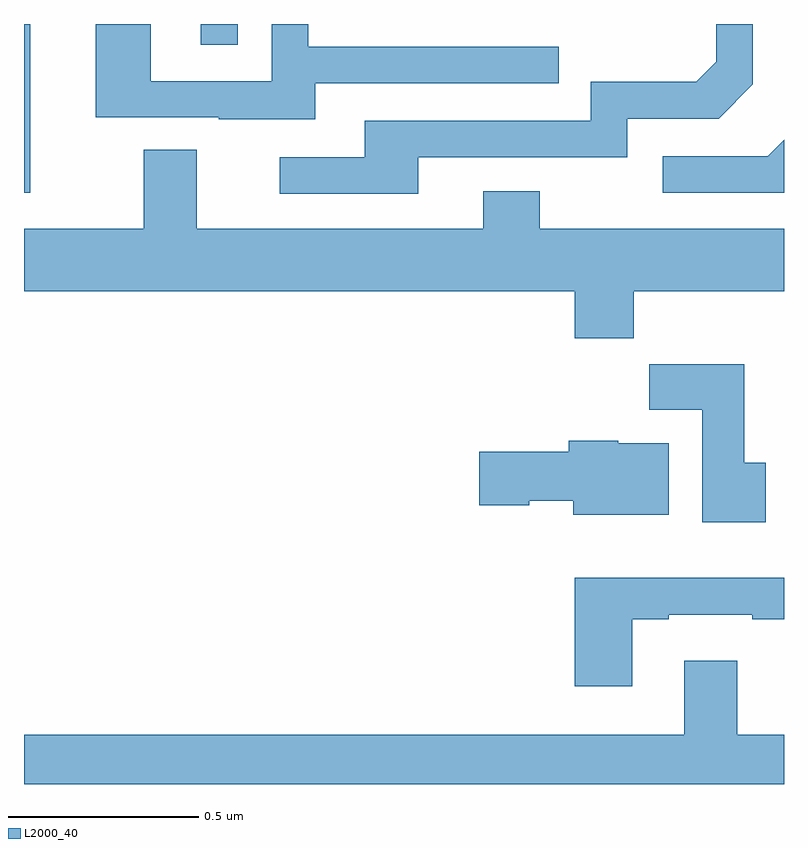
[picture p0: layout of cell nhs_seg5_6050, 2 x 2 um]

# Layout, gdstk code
import gdstk
lib = gdstk.Library(unit=1e-6, precision=1e-09)
def R(c, l, rs):  # rectangles x0, y0, x1, y1
    for r in rs: c.add(gdstk.rectangle(r[:2], r[2:], *l))
def P(c, l, *ps):  # polygons
    for p in ps: c.add(gdstk.Polygon(p, *l))
L2000_40 = (2000, 40)

nhs_seg5_6050 = lib.new_cell('nhs_seg5_6050')
R(nhs_seg5_6050, L2000_40, [(191,854.355,191.017,854.799), (191.465,854.745,191.562,854.799)])
P(nhs_seg5_6050, L2000_40, [(192.037,854.448),(192.588,854.448),(192.588,854.55),(192.828,854.55),(192.918,854.64),(192.918,854.799),(192.822,854.799),(192.822,854.7),(192.769,854.647),(192.492,854.647),(192.492,854.544),(191.897,854.544),(191.897,854.448),(191.673,854.448),(191.673,854.352),(192.037,854.352)],
  [(191.767,854.643),(192.407,854.643),(192.407,854.739),(191.748,854.739),(191.748,854.799),(191.652,854.799),(191.652,854.649),(191.334,854.649),(191.334,854.799),(191.189,854.799),(191.189,854.553),(191.513,854.553),(191.513,854.549),(191.767,854.549)],
  [(193,854.494),(192.957,854.451),(192.681,854.451),(192.681,854.355),(193,854.355)],
  [(192.605,854.096),(193,854.096),(193,854.26),(192.357,854.26),(192.357,854.359),(192.209,854.359),(192.209,854.26),(191.455,854.26),(191.455,854.468),(191.315,854.468),(191.315,854.26),(191,854.26),(191,854.096),(192.449,854.096),(192.449,853.972),(192.605,853.972)],
  [(192.952,853.644),(192.895,853.644),(192.895,853.903),(192.646,853.903),(192.646,853.784),(192.785,853.784),(192.785,853.488),(192.952,853.488)],
  [(192.697,853.696),(192.564,853.696),(192.564,853.702),(192.434,853.702),(192.434,853.674),(192.198,853.674),(192.198,853.532),(192.33,853.532),(192.33,853.544),(192.446,853.544),(192.446,853.508),(192.697,853.508)],
  [(192.601,853.233),(192.697,853.233),(192.697,853.245),(192.917,853.245),(192.917,853.233),(193,853.233),(193,853.342),(192.449,853.342),(192.449,853.056),(192.601,853.056)],
  [(192.737,853.123),(192.737,852.928),(191,852.928),(191,852.799),(193,852.799),(193,852.928),(192.877,852.928),(192.877,853.123)])

lib.write_gds('nhs_seg5_6050.gds')
